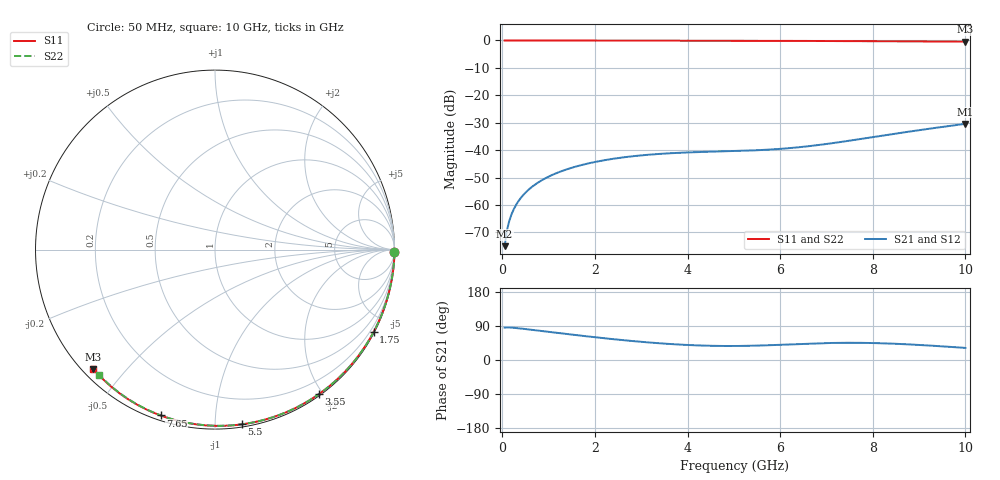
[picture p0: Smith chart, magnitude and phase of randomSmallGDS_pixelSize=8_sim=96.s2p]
! freq	dB(S11)	phase(S11)	dB(S12)	phase(S12)
!  dB(S21)	phase(S21)	dB(S22)	phase(S22)
!S-par simulation data
#  GHz  S  DB  R 50
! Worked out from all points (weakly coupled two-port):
!   200 points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, 50 MHz to 10 GHz, reference 50 ohm
!   highest |S21| = -30.41 dB at 10 GHz (marker M1); lowest = -75.0 dB at 50 MHz (marker M2)
!   lowest |S11| = -0.4 dB at 10 GHz (marker M3), VSWR 38.65, Z = 1.51 - j20.4 ohm
!   |S11| at or under -10 dB: nowhere
!   |S22| runs from -0.4 to 0.0 dB; largest |S21 - S12| = 0
!   S11 on the Smith chart (normalised r, x): 50 MHz: open; 1.75 GHz: 0.04, -4.09; 3.55 GHz: 0.02, -1.95; 5.5 GHz: 0.02, -1.17; 7.65 GHz: 0.02, -0.72; 10 GHz: 0.03, -0.41
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0.05  -0.00 -0.8  -75.02 85.4  -75.02 85.4  -0.00 -0.8
0.1  -0.00 -1.6  -69.29 85.8  -69.29 85.8  -0.00 -1.6
0.15  -0.00 -2.4  -65.85 85.8  -65.85 85.8  -0.00 -2.3
0.2  -0.00 -3.2  -63.38 85.5  -63.38 85.5  -0.00 -3.1
0.25  -0.00 -4.0  -61.46 84.9  -61.46 84.9  -0.00 -3.9
0.35  -0.00 -5.6  -58.57 83.7  -58.57 83.7  -0.00 -5.4
0.5  -0.01 -8.0  -55.50 81.7  -55.50 81.7  -0.01 -7.8
0.7  -0.01 -11.1  -52.64 78.8  -52.64 78.8  -0.01 -10.9
1  -0.02 -15.8  -49.66 74.3  -49.66 74.3  -0.02 -15.4
1.35  -0.03 -21.3  -47.24 69.2  -47.24 69.2  -0.03 -20.8
1.75  -0.03 -27.5  -45.27 63.5  -45.27 63.5  -0.03 -26.8
2.5  -0.05 -38.9  -42.89 53.7  -42.89 53.7  -0.05 -38.0
3.4  -0.07 -52.1  -41.37 44.1  -41.37 44.1  -0.07 -50.9
3.55  -0.07 -54.3  -41.21 42.8  -41.21 42.8  -0.07 -53.1
4.3  -0.09 -64.9  -40.66 38.2  -40.66 38.2  -0.09 -63.5
5.05  -0.11 -75.2  -40.31 37.0  -40.31 37.0  -0.11 -73.5
5.5  -0.13 -81.2  -40.04 38.0  -40.04 38.0  -0.13 -79.4
6.7  -0.19 -96.6  -38.40 43.6  -38.40 43.6  -0.18 -94.5
7.65  -0.24 -108.2  -36.16 45.4  -36.16 45.4  -0.24 -105.9
8.35  -0.29 -116.5  -34.35 43.5  -34.35 43.5  -0.29 -114.1
9.2  -0.37 -126.4  -32.24 38.3  -32.24 38.3  -0.36 -123.7
10  -0.45 -135.6  -30.41 31.9  -30.41 31.9  -0.44 -132.7
